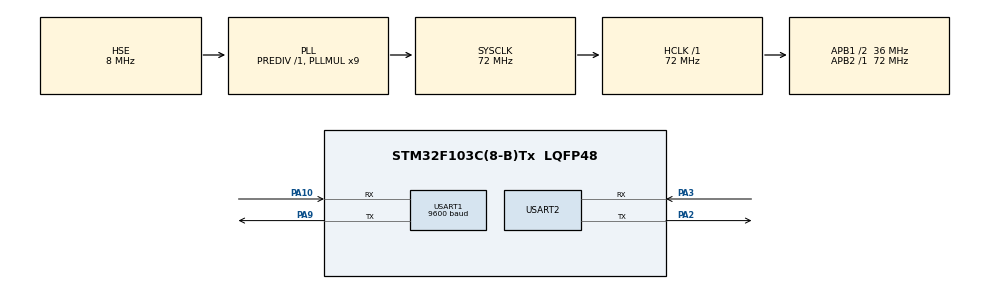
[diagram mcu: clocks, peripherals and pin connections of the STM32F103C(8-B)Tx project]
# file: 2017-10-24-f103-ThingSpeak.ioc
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Dma.Request0=USART2_RX
Dma.USART2_RX.0.Direction=DMA_PERIPH_TO_MEMORY
Dma.USART2_RX.0.Instance=DMA1_Channel6
Dma.USART2_RX.0.MemDataAlignment=DMA_MDATAALIGN_BYTE
Dma.USART2_RX.0.MemInc=DMA_MINC_ENABLE
Dma.USART2_RX.0.Mode=DMA_CIRCULAR
Dma.USART2_RX.0.PeriphDataAlignment=DMA_PDATAALIGN_BYTE
Dma.USART2_RX.0.PeriphInc=DMA_PINC_DISABLE
Dma.USART2_RX.0.Priority=DMA_PRIORITY_LOW
Mcu.Family=STM32F1
Mcu.Name=STM32F103C(8-B)Tx
Mcu.Package=LQFP48
NVIC.DMA1_Channel6_IRQn=true\:0\:0\:false\:false\:true\:false
NVIC.PriorityGroup=NVIC_PRIORITYGROUP_4
PA10.Mode=Asynchronous
PA10.Signal=USART1_RX
PA13.Mode=Serial_Wire
PA13.Signal=SYS_JTMS-SWDIO
PA14.Mode=Serial_Wire
PA14.Signal=SYS_JTCK-SWCLK
PA2.Mode=Asynchronous
PA2.Signal=USART2_TX
PA3.Mode=Asynchronous
PA3.Signal=USART2_RX
PA9.Mode=Asynchronous
PA9.Signal=USART1_TX
PD0-OSC_IN.Mode=HSE-External-Oscillator
PD0-OSC_IN.Signal=RCC_OSC_IN
PD1-OSC_OUT.Mode=HSE-External-Oscillator
PD1-OSC_OUT.Signal=RCC_OSC_OUT
ProjectManager.HeapSize=0x200
ProjectManager.StackSize=0x400
ProjectManager.TargetToolchain=SW4STM32
RCC.AHBFreq_Value=72000000
RCC.APB1CLKDivider=RCC_HCLK_DIV2
RCC.APB1Freq_Value=36000000
RCC.APB1TimFreq_Value=72000000
RCC.APB2Freq_Value=72000000
RCC.APB2TimFreq_Value=72000000
RCC.HCLKFreq_Value=72000000
RCC.PLLMUL=RCC_PLL_MUL9
RCC.PLLSourceVirtual=RCC_PLLSOURCE_HSE
RCC.SYSCLKFreq_VALUE=72000000
RCC.SYSCLKSource=RCC_SYSCLKSOURCE_PLLCLK
RCC.USBFreq_Value=72000000
USART1.BaudRate=9600
USART1.VirtualMode=VM_ASYNC
USART2.VirtualMode=VM_ASYNC
board=2017-10-24-f103-ThingSpeak

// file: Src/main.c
/**
  ******************************************************************************
  * File Name          : main.c
  * Description        : Main program body
  ******************************************************************************
  ** This notice applies to any and all portions of this file
  * that are not between comment pairs USER CODE BEGIN and
  * USER CODE END. Other portions of this file, whether
  * inserted by the user or by software development tools
  * are owned by their respective copyright owners.
  *
  * COPYRIGHT(c) 2017 STMicroelectronics
  *
  * Redistribution and use in source and binary forms, with or without modification,
  * are permitted provided that the following conditions are met:
  *   1. Redistributions of source code must retain the above copyright notice,
  *      this list of conditions and the following disclaimer.
  *   2. Redistributions in binary form must reproduce the above copyright notice,
  *      this list of conditions and the following disclaimer in the documentation
  *      and/or other materials provided with the distribution.
  *   3. Neither the name of STMicroelectronics nor the names of its contributors
  *      may be used to endorse or promote products derived from this software
  *      without specific prior written permission.
  *
  * THIS SOFTWARE IS PROVIDED BY THE COPYRIGHT HOLDERS AND CONTRIBUTORS "AS IS"
  * AND ANY EXPRESS OR IMPLIED WARRANTIES, INCLUDING, BUT NOT LIMITED TO, THE
  * IMPLIED WARRANTIES OF MERCHANTABILITY AND FITNESS FOR A PARTICULAR PURPOSE ARE
  * DISCLAIMED. IN NO EVENT SHALL THE COPYRIGHT HOLDER OR CONTRIBUTORS BE LIABLE
  * FOR ANY DIRECT, INDIRECT, INCIDENTAL, SPECIAL, EXEMPLARY, OR CONSEQUENTIAL
  * DAMAGES (INCLUDING, BUT NOT LIMITED TO, PROCUREMENT OF SUBSTITUTE GOODS OR
  * SERVICES; LOSS OF USE, DATA, OR PROFITS; OR BUSINESS INTERRUPTION) HOWEVER
  * CAUSED AND ON ANY THEORY OF LIABILITY, WHETHER IN CONTRACT, STRICT LIABILITY,
  * OR TORT (INCLUDING NEGLIGENCE OR OTHERWISE) ARISING IN ANY WAY OUT OF THE USE
  * OF THIS SOFTWARE, EVEN IF ADVISED OF THE POSSIBILITY OF SUCH DAMAGE.
  *
  ******************************************************************************
  */
#include "main.h"
#include "stm32f1xx_hal.h"
#include "dma.h"
#include "usart.h"
#include "gpio.h"

/* USER CODE BEGIN Includes */

#include "ringbuffer_dma.h"
#include <string.h>

// RingBuffer variables
//extern DMA_HandleTypeDef hdma_uart2_rx;
extern DMA_HandleTypeDef hdma_usart2_rx;
/* Ringbuffer for Rx messages */
RingBuffer_DMA rx_buf;
/* Array for DMA to save Rx bytes */
#define BUF_SIZE 256
uint8_t rx[BUF_SIZE];
uint32_t rx_count = 0;
/* Array for received commands */
char cmd[512];
uint8_t icmd = 0;

/* ESP8266 variables */
//#define THINGSPEAK_ADDRESS	"api.thingspeak.com"
#define THINGSPEAK_ADDRESS	"192.168.1.86"
//#define THINGSPEAK_API_KEY	"5ZRXVI7HIJQPGKID"				// Enter your Write API here
//#define WIFI_SSID			"Kitchen"
//#define WIFI_PASS			"Papanina36"
#define WIFI_SSID			"Tapac"
#define WIFI_PASS			"27051329"

char wifi_cmd[512];

/* USER CODE END Includes */

/* USER CODE BEGIN PV */
/* Private variables ---------------------------------------------------------*/

/* USER CODE END PV */

void SystemClock_Config(void);

/* USER CODE BEGIN PFP */
/* Private function prototypes -----------------------------------------------*/

void UART_Read(void);

/* USER CODE END PFP */

int main(void)
{

  /* USER CODE BEGIN 1 */

	int i=0;
  /* USER CODE END 1 */

  /* MCU Configuration----------------------------------------------------------*/

  /* Reset of all peripherals, Initializes the Flash interface and the Systick. */
  HAL_Init();

  /* Configure the system clock */
  SystemClock_Config();

  /* Initialize all configured peripherals */
  MX_GPIO_Init();
  MX_DMA_Init();
  MX_USART2_UART_Init();
  MX_USART1_UART_Init();

  /* USER CODE BEGIN 2 */

	/* Init RingBuffer_DMA object */
	RingBuffer_DMA_Init(&rx_buf, &hdma_usart2_rx, rx, BUF_SIZE);
	/* Start UART4 DMA Reception */
	HAL_UART_Receive_DMA(&huart2, rx, BUF_SIZE);

	//sprintf(wifi_cmd,"\nHello ThingSpeak! \n\r");
	sprintf(wifi_cmd,"\nHello Impulse \n\r");
	HAL_UART_Transmit(&huart1, (uint8_t *)wifi_cmd, strlen(wifi_cmd), 100);
  	HAL_Delay(100);

  	/* CONNECT TO WIFI ROUTER */
	/* Simple ping */
	sprintf(wifi_cmd, "AT+RST\r\n");	//		sprintf(wifi_cmd, "AT+RST\r\n");
	HAL_UART_Transmit(&huart1, (uint8_t *)wifi_cmd, strlen(wifi_cmd), 1000);
	HAL_UART_Transmit(&huart2, (uint8_t *)wifi_cmd, strlen(wifi_cmd), 1000);
	HAL_Delay(500);
	UART_Read();

	/* Turn on message echo */
	sprintf(wifi_cmd, "ATE1\r\n");	//		sprintf(wifi_cmd, "ATE1\r\n");
	HAL_UART_Transmit(&huart1, (uint8_t *)wifi_cmd, strlen(wifi_cmd), 1000);
	HAL_UART_Transmit(&huart2, (uint8_t *)wifi_cmd, strlen(wifi_cmd), 1000);
	HAL_Delay(100);
	UART_Read();

	/* Display version info */
	sprintf(wifi_cmd, "AT+GMR\r\n");
	HAL_UART_Transmit(&huart1, (uint8_t *)wifi_cmd, strlen(wifi_cmd), 1000);
	HAL_UART_Transmit(&huart2, (uint8_t *)wifi_cmd, strlen(wifi_cmd), 1000);
	HAL_Delay(500);
	UART_Read();

	/* Set to client mode */
	sprintf(wifi_cmd, "AT+CWMODE=1\r\n");	//		sprintf(wifi_cmd, "AT+CWMODE_CUR=1\r\n");
	HAL_UART_Transmit(&huart1, (uint8_t *)wifi_cmd, strlen(wifi_cmd), 1000);
	HAL_UART_Transmit(&huart2, (uint8_t *)wifi_cmd, strlen(wifi_cmd), 1000);
	HAL_Delay(100);
	UART_Read();
	HAL_Delay(2000);

	/* Connect to network */
	sprintf(wifi_cmd, "AT+CWJAP_CUR=\"%s\",\"%s\"\r\n", WIFI_SSID, WIFI_PASS);
//  sprintf(wifi_cmd, "AT+CWJAP_CUR=\"%s\",\"%s\"\r\n", WIFI_SSID, WIFI_PASS);
	HAL_UART_Transmit(&huart1, (uint8_t *)wifi_cmd, strlen(wifi_cmd), 1000);
	HAL_UART_Transmit(&huart2, (uint8_t *)wifi_cmd, strlen(wifi_cmd), 1000);
	HAL_Delay(10000);
	UART_Read();
	/* CONNECTED (hope so) */
	/* Check for IP */
	sprintf(wifi_cmd, "AT+CIFSR\r\n");	//		sprintf(wifi_cmd, "AT+CIFSR\r\n");
	HAL_UART_Transmit(&huart1, (uint8_t *)wifi_cmd, strlen(wifi_cmd), 1000);
	HAL_UART_Transmit(&huart2, (uint8_t *)wifi_cmd, strlen(wifi_cmd), 1000);
	HAL_Delay(5000);
	UART_Read();
	char http_req[200];
  /* USER CODE END 2 */

  /* Infinite loop */
  /* USER CODE BEGIN WHILE */
  while (1)
  {
	i++;
	if (i>1) i=0;

	//sprintf(http_req, "GET /update?api_key=%s&field1=%d\r\n\r\n",THINGSPEAK_API_KEY,i); // rand() % 100);
	sprintf(http_req, "GET /cgi-bin/ow_set_reg/19.3/1/%d/?_=1530887920668 HTTP/1.1\r\nHost: 192.168.2.86\r\nAuthorization: Basic cm9vdDowMDAw\r\n\r\n",i);

	/* Connect to server */
	sprintf(wifi_cmd, "AT+CIPSTART=\"TCP\",\"%s\",80\r\n", THINGSPEAK_ADDRESS);
	HAL_UART_Transmit(&huart1, (uint8_t *)wifi_cmd, strlen(wifi_cmd), 1000);
	HAL_UART_Transmit(&huart2, (uint8_t *)wifi_cmd, strlen(wifi_cmd), 1000);
	HAL_Delay(500);
	UART_Read();
	/* Send data length (length of request) */
	sprintf(wifi_cmd, "AT+CIPSEND=%d\r\n", strlen(http_req));
	HAL_UART_Transmit(&huart1, (uint8_t *)wifi_cmd, strlen(wifi_cmd), 1000);
	HAL_UART_Transmit(&huart2, (uint8_t *)wifi_cmd, strlen(wifi_cmd), 1000);
	HAL_Delay(500); // wait for ">"
	UART_Read();
	/* Send data */
	HAL_UART_Transmit(&huart1, (uint8_t *)http_req, strlen(http_req), 1000);
	HAL_UART_Transmit(&huart2, (uint8_t *)http_req, strlen(http_req), 1000);
	HAL_Delay(100);
	UART_Read();

	//HAL_Delay(500);

//	sprintf(http_req, "GET /cgi-bin/ow_set_reg/19.3/1/0/?_=1530887920668 HTTP/1.1\r\nHost: 192.168.2.86\r\nAuthorization: Basic cm9vdDowMDAw\r\n\r\n");
//
//	/* Connect to server */
//	sprintf(wifi_cmd, "AT+CIPSTART=\"TCP\",\"%s\",80\r\n", THINGSPEAK_ADDRESS);
//	HAL_UART_Transmit(&huart1, (uint8_t *)wifi_cmd, strlen(wifi_cmd), 1000);
//	HAL_UART_Transmit(&huart2, (uint8_t *)wifi_cmd, strlen(wifi_cmd), 1000);
//	HAL_Delay(1000);
//	UART_Read();
//
//	/* Send data length (length of request) */
//	sprintf(wifi_cmd, "AT+CIPSEND=%d\r\n", strlen(http_req));
//	HAL_UART_Transmit(&huart1, (uint8_t *)wifi_cmd, strlen(wifi_cmd), 1000);
//	HAL_UART_Transmit(&huart2, (uint8_t *)wifi_cmd, strlen(wifi_cmd), 1000);
//	HAL_Delay(1000); // wait for ">"
//	UART_Read();
//
//	/* Send data */
//	HAL_UART_Transmit(&huart1, (uint8_t *)http_req, strlen(http_req), 1000);
//	HAL_UART_Transmit(&huart2, (uint8_t *)http_req, strlen(http_req), 1000);
//	HAL_Delay(100);
//	UART_Read();
//
//	HAL_Delay(1000);

//	sprintf(http_req, "http://192.168.1.86/cgi-bin/ow_set_reg/19.4/1/1/?_=1530358346812\r\n");
//
//	/* Connect to server */
//	sprintf(wifi_cmd, "AT+CIPSTART=\"TCP\",\"%s\",80\r\n", THINGSPEAK_ADDRESS);
//	HAL_UART_Transmit(&huart1, (uint8_t *)wifi_cmd, strlen(wifi_cmd), 1000);
//	HAL_UART_Transmit(&huart2, (uint8_t *)wifi_cmd, strlen(wifi_cmd), 1000);
//	HAL_Delay(2000);
//	UART_Read();
//
//	/* Send data length (length of request) */
//	sprintf(wifi_cmd, "AT+CIPSEND=%d\r\n", strlen(http_req));
//	HAL_UART_Transmit(&huart1, (uint8_t *)wifi_cmd, strlen(wifi_cmd), 1000);
//	HAL_UART_Transmit(&huart2, (uint8_t *)wifi_cmd, strlen(wifi_cmd), 1000);
//	HAL_Delay(2000); // wait for ">"
//	UART_Read();
//	/* Send data */
//	HAL_UART_Transmit(&huart1, (uint8_t *)http_req, strlen(http_req), 1000);
//	HAL_UART_Transmit(&huart2, (uint8_t *)http_req, strlen(http_req), 1000);
//	HAL_Delay(100);
//	UART_Read();

	/* Wait for next transmission (at least 15 sec for 1 loop) */
	//HAL_Delay(2000);

  /* USER CODE END WHILE */

  }

}

/** System Clock Configuration
*/
void SystemClock_Config(void)
{

  RCC_OscInitTypeDef RCC_OscInitStruct;
  RCC_ClkInitTypeDef RCC_ClkInitStruct;

    /**Initializes the CPU, AHB and APB busses clocks
    */
  RCC_OscInitStruct.OscillatorType = RCC_OSCILLATORTYPE_HSE;
  RCC_OscInitStruct.HSEState = RCC_HSE_ON;
  RCC_OscInitStruct.HSEPredivValue = RCC_HSE_PREDIV_DIV1;
  RCC_OscInitStruct.HSIState = RCC_HSI_ON;
  RCC_OscInitStruct.PLL.PLLState = RCC_PLL_ON;
  RCC_OscInitStruct.PLL.PLLSource = RCC_PLLSOURCE_HSE;
  RCC_OscInitStruct.PLL.PLLMUL = RCC_PLL_MUL9;
  if (HAL_RCC_OscConfig(&RCC_OscInitStruct) != HAL_OK)
  {
    _Error_Handler(__FILE__, __LINE__);
  }

    /**Initializes the CPU, AHB and APB busses clocks
    */
  RCC_ClkInitStruct.ClockType = RCC_CLOCKTYPE_HCLK|RCC_CLOCKTYPE_SYSCLK
                              |RCC_CLOCKTYPE_PCLK1|RCC_CLOCKTYPE_PCLK2;
  RCC_ClkInitStruct.SYSCLKSource = RCC_SYSCLKSOURCE_PLLCLK;
  RCC_ClkInitStruct.AHBCLKDivider = RCC_SYSCLK_DIV1;
  RCC_ClkInitStruct.APB1CLKDivider = RCC_HCLK_DIV2;
  RCC_ClkInitStruct.APB2CLKDivider = RCC_HCLK_DIV1;

  if (HAL_RCC_ClockConfig(&RCC_ClkInitStruct, FLASH_LATENCY_2) != HAL_OK)
  {
    _Error_Handler(__FILE__, __LINE__);
  }

    /**Configure the Systick interrupt time
    */
  HAL_SYSTICK_Config(HAL_RCC_GetHCLKFreq()/1000);

    /**Configure the Systick
    */
  HAL_SYSTICK_CLKSourceConfig(SYSTICK_CLKSOURCE_HCLK);

  /* SysTick_IRQn interrupt configuration */
  HAL_NVIC_SetPriority(SysTick_IRQn, 0, 0);
}

/* USER CODE BEGIN 4 */
//=================================================================
void UART_Read(void)
 {
	/* Check number of bytes in RingBuffer */
	rx_count = RingBuffer_DMA_Count(&rx_buf);
	/* Process each byte individually */
	while (rx_count--) {
		/* Read out one byte from RingBuffer */
		uint8_t b = RingBuffer_DMA_GetByte(&rx_buf);
		if (b == '\n') { /* If \n process command */
			/* Terminate string with \0 */
			cmd[icmd] = 0;
			icmd = 0;
			/* Display received messages */
			//LCD_Printf("%s\n", cmd);
			sprintf(wifi_cmd,"%s\r\n", cmd);
			HAL_UART_Transmit(&huart1, (uint8_t *)wifi_cmd, strlen(wifi_cmd), 100);
		  	HAL_Delay(100);
		} else if (b == '\r') { /* If \r skip */
			continue;
		} else { /* If regular character, put it into cmd[] */
			cmd[icmd++ % 512] = b;
		}
	}
 }// void UART_Read(void)
//======================================================================
/* USER CODE END 4 */

void _Error_Handler(char * file, int line)
{
  while(1)
  {
  }
}

/************************ (C) COPYRIGHT STMicroelectronics *****END OF FILE****/
